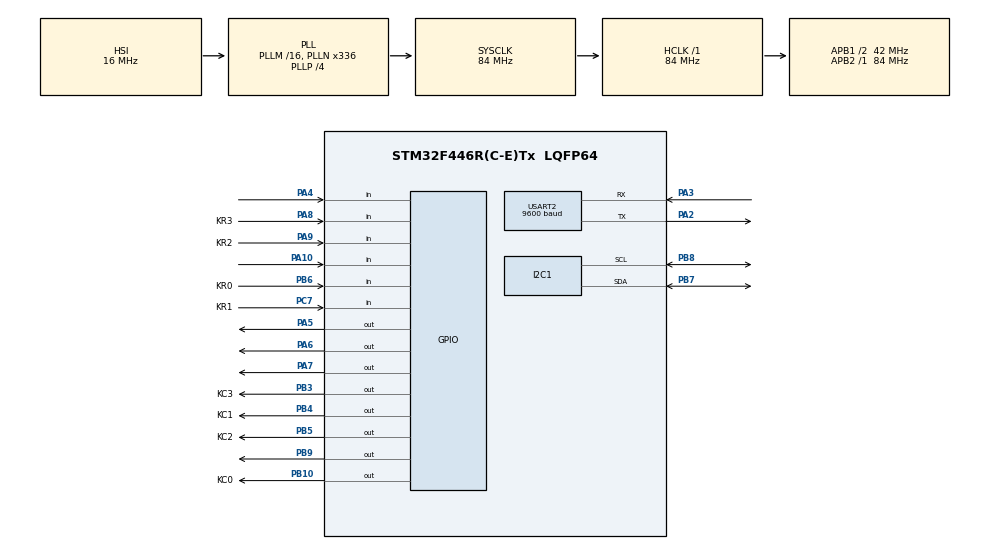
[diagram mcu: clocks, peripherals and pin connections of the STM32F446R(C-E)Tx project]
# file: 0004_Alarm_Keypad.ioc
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FREERTOS.Tasks01=keypadTask,24,128,StartKeypadTask,Default,NULL,Dynamic,NULL,NULL;oledTask,24,128,StartOledTask,Default,NULL,Dynamic,NULL,NULL;motionTask,24,128,StartMotionTask,Default,NULL,Dynamic,NULL,NULL
FREERTOS.configUSE_NEWLIB_REENTRANT=1
I2C1.I2C_Mode=I2C_Fast
Mcu.Family=STM32F4
Mcu.Name=STM32F446R(C-E)Tx
Mcu.Package=LQFP64
NVIC.PriorityGroup=NVIC_PRIORITYGROUP_4
NVIC.TIM6_DAC_IRQn=true\:0\:0\:false\:false\:true\:false\:false\:true\:true
NVIC.TimeBase=TIM6_DAC_IRQn
NVIC.TimeBaseIP=TIM6
PA10.Signal=GPIO_Input
PA13.Mode=Serial_Wire
PA13.Signal=SYS_JTMS-SWDIO
PA14.Mode=Serial_Wire
PA14.Signal=SYS_JTCK-SWCLK
PA2.Mode=Asynchronous
PA2.Signal=USART2_TX
PA3.Mode=Asynchronous
PA3.Signal=USART2_RX
PA4.Signal=GPIO_Input
PA5.Signal=GPIO_Output
PA6.Signal=GPIO_Output
PA7.Signal=GPIO_Output
PA8.GPIO_Label=KR3
PA8.GPIO_PuPd=GPIO_PULLDOWN
PA8.Signal=GPIO_Input
PA9.GPIO_Label=KR2
PA9.GPIO_PuPd=GPIO_PULLDOWN
PA9.Signal=GPIO_Input
PB10.GPIO_Label=KC0
PB10.Signal=GPIO_Output
PB3.GPIO_Label=KC3
PB3.Signal=GPIO_Output
PB4.GPIO_Label=KC1
PB4.Signal=GPIO_Output
PB5.GPIO_Label=KC2
PB5.Signal=GPIO_Output
PB6.GPIO_Label=KR0
PB6.GPIO_PuPd=GPIO_PULLDOWN
PB6.Signal=GPIO_Input
PB7.Mode=I2C
PB7.Signal=I2C1_SDA
PB8.Mode=I2C
PB8.Signal=I2C1_SCL
PB9.Signal=GPIO_Output
PC14-OSC32_IN.Mode=LSE-External-Oscillator
PC14-OSC32_IN.Signal=RCC_OSC32_IN
PC15-OSC32_OUT.Mode=LSE-External-Oscillator
PC15-OSC32_OUT.Signal=RCC_OSC32_OUT
PC7.GPIO_Label=KR1
PC7.GPIO_PuPd=GPIO_PULLDOWN
PC7.Signal=GPIO_Input
PH0-OSC_IN.Mode=HSE-External-Oscillator
PH0-OSC_IN.Signal=RCC_OSC_IN
PH1-OSC_OUT.Mode=HSE-External-Oscillator
PH1-OSC_OUT.Signal=RCC_OSC_OUT
ProjectManager.HeapSize=0x200
ProjectManager.StackSize=0x400
ProjectManager.TargetToolchain=STM32CubeIDE
RCC.48MHZClocksFreq_Value=84000000
RCC.AHBFreq_Value=84000000
RCC.APB1CLKDivider=RCC_HCLK_DIV2
RCC.APB1Freq_Value=42000000
RCC.APB1TimFreq_Value=84000000
RCC.APB2Freq_Value=84000000
RCC.APB2TimFreq_Value=84000000
RCC.CortexFreq_Value=84000000
RCC.FLatency-AdvancedSettings=FLASH_LATENCY_2
RCC.HCLKFreq_Value=84000000
RCC.HSE_VALUE=8000000
RCC.HSI_VALUE=16000000
RCC.PLLN=336
RCC.PLLP=RCC_PLLP_DIV4
RCC.SYSCLKFreq_VALUE=84000000
RCC.SYSCLKSource=RCC_SYSCLKSOURCE_PLLCLK
RCC.USBFreq_Value=168000000
RCC.VCOOutputFreq_Value=336000000
USART2.BaudRate=9600
USART2.VirtualMode=VM_ASYNC
VP_FREERTOS_VS_CMSIS_V2.Mode=CMSIS_V2
VP_SYS_VS_tim6.Mode=TIM6
board=NUCLEO-F446RE

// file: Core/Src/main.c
/* USER CODE BEGIN Header */
/**
  ******************************************************************************
  * @file           : main.c
  * @brief          : Main program body
  ******************************************************************************
  * @attention
  *
  * Copyright (c) 2024 STMicroelectronics.
  * All rights reserved.
  *
  * This software is licensed under terms that can be found in the LICENSE file
  * in the root directory of this software component.
  * If no LICENSE file comes with this software, it is provided AS-IS.
  *
  ******************************************************************************
  */
/* USER CODE END Header */
#include "main.h"
#include "cmsis_os.h"

/* USER CODE BEGIN Includes */
#include "Keypad4X4.h"
#include <stdio.h>
#include <string.h>
#include <stdlib.h>
#include "fonts.h"
#include "ssd1306.h"

/* USER CODE END Includes */

I2C_HandleTypeDef hi2c1;

UART_HandleTypeDef huart2;

/* Definitions for keypadTask */
osThreadId_t keypadTaskHandle;
const osThreadAttr_t keypadTask_attributes = {
  .name = "keypadTask",
  .stack_size = 128 * 4,
  .priority = (osPriority_t) osPriorityNormal,
};
/* Definitions for oledTask */
osThreadId_t oledTaskHandle;
const osThreadAttr_t oledTask_attributes = {
  .name = "oledTask",
  .stack_size = 128 * 4,
  .priority = (osPriority_t) osPriorityNormal,
};
/* Definitions for motionTask */
osThreadId_t motionTaskHandle;
const osThreadAttr_t motionTask_attributes = {
  .name = "motionTask",
  .stack_size = 128 * 4,
  .priority = (osPriority_t) osPriorityNormal,
};
/* USER CODE BEGIN PV */
extern char key;
char hold[4];
char code[8];
char savedCode[8];
uint8_t codeIndex = 0;
uint8_t configMode = 1;
uint8_t armed = 0;
uint32_t lastAlert = 0;
uint32_t lastTimeArmed = 0;
/* USER CODE END PV */

void SystemClock_Config(void);
static void MX_GPIO_Init(void);
static void MX_USART2_UART_Init(void);
static void MX_I2C1_Init(void);
void StartKeypadTask(void *argument);
void StartOledTask(void *argument);
void StartMotionTask(void *argument);

int main(void)
{

  /* MCU Configuration--------------------------------------------------------*/

  /* Reset of all peripherals, Initializes the Flash interface and the Systick. */
  HAL_Init();

  /* Configure the system clock */
  SystemClock_Config();

  /* Initialize all configured peripherals */
  MX_GPIO_Init();
  MX_USART2_UART_Init();
  MX_I2C1_Init();
  /* USER CODE BEGIN 2 */
    /* USER CODE BEGIN 2 */
    SSD1306_Init();
    SSD1306_GotoXY(0, 0);
    //SSD1306_Puts ("Voltage:", &Font_11x18, 1);
    SSD1306_Puts("Enter Code:", &Font_11x18, 1);
    SSD1306_GotoXY(0, 30);
    SSD1306_UpdateScreen();
    SSD1306_UpdateScreen();
    HAL_Delay(500);

  /* USER CODE END 2 */

  /* Init scheduler */
  osKernelInitialize();

  /* Create the thread(s) */
  /* creation of keypadTask */
  keypadTaskHandle = osThreadNew(StartKeypadTask, NULL, &keypadTask_attributes);

  /* creation of oledTask */
  oledTaskHandle = osThreadNew(StartOledTask, NULL, &oledTask_attributes);

  /* creation of motionTask */
  motionTaskHandle = osThreadNew(StartMotionTask, NULL, &motionTask_attributes);

  /* Start scheduler */
  osKernelStart();

  /* We should never get here as control is now taken by the scheduler */
  /* Infinite loop */
    while (1) {

    }
}

void SystemClock_Config(void)
{
  RCC_OscInitTypeDef RCC_OscInitStruct = {0};
  RCC_ClkInitTypeDef RCC_ClkInitStruct = {0};

  /** Configure the main internal regulator output voltage
  */
  __HAL_RCC_PWR_CLK_ENABLE();
  __HAL_PWR_VOLTAGESCALING_CONFIG(PWR_REGULATOR_VOLTAGE_SCALE3);

  /** Initializes the RCC Oscillators according to the specified parameters
  * in the RCC_OscInitTypeDef structure.
  */
  RCC_OscInitStruct.OscillatorType = RCC_OSCILLATORTYPE_HSI;
  RCC_OscInitStruct.HSIState = RCC_HSI_ON;
  RCC_OscInitStruct.HSICalibrationValue = RCC_HSICALIBRATION_DEFAULT;
  RCC_OscInitStruct.PLL.PLLState = RCC_PLL_ON;
  RCC_OscInitStruct.PLL.PLLSource = RCC_PLLSOURCE_HSI;
  RCC_OscInitStruct.PLL.PLLM = 16;
  RCC_OscInitStruct.PLL.PLLN = 336;
  RCC_OscInitStruct.PLL.PLLP = RCC_PLLP_DIV4;
  RCC_OscInitStruct.PLL.PLLQ = 2;
  RCC_OscInitStruct.PLL.PLLR = 2;
  if (HAL_RCC_OscConfig(&RCC_OscInitStruct) != HAL_OK)
  {
    Error_Handler();
  }

  /** Initializes the CPU, AHB and APB buses clocks
  */
  RCC_ClkInitStruct.ClockType = RCC_CLOCKTYPE_HCLK|RCC_CLOCKTYPE_SYSCLK
                              |RCC_CLOCKTYPE_PCLK1|RCC_CLOCKTYPE_PCLK2;
  RCC_ClkInitStruct.SYSCLKSource = RCC_SYSCLKSOURCE_PLLCLK;
  RCC_ClkInitStruct.AHBCLKDivider = RCC_SYSCLK_DIV1;
  RCC_ClkInitStruct.APB1CLKDivider = RCC_HCLK_DIV2;
  RCC_ClkInitStruct.APB2CLKDivider = RCC_HCLK_DIV1;

  if (HAL_RCC_ClockConfig(&RCC_ClkInitStruct, FLASH_LATENCY_2) != HAL_OK)
  {
    Error_Handler();
  }
}

static void MX_I2C1_Init(void)
{

  hi2c1.Instance = I2C1;
  hi2c1.Init.ClockSpeed = 400000;
  hi2c1.Init.DutyCycle = I2C_DUTYCYCLE_2;
  hi2c1.Init.OwnAddress1 = 0;
  hi2c1.Init.AddressingMode = I2C_ADDRESSINGMODE_7BIT;
  hi2c1.Init.DualAddressMode = I2C_DUALADDRESS_DISABLE;
  hi2c1.Init.OwnAddress2 = 0;
  hi2c1.Init.GeneralCallMode = I2C_GENERALCALL_DISABLE;
  hi2c1.Init.NoStretchMode = I2C_NOSTRETCH_DISABLE;
  if (HAL_I2C_Init(&hi2c1) != HAL_OK)
  {
    Error_Handler();
  }

}

static void MX_USART2_UART_Init(void)
{

  huart2.Instance = USART2;
  huart2.Init.BaudRate = 9600;
  huart2.Init.WordLength = UART_WORDLENGTH_8B;
  huart2.Init.StopBits = UART_STOPBITS_1;
  huart2.Init.Parity = UART_PARITY_NONE;
  huart2.Init.Mode = UART_MODE_TX_RX;
  huart2.Init.HwFlowCtl = UART_HWCONTROL_NONE;
  huart2.Init.OverSampling = UART_OVERSAMPLING_16;
  if (HAL_UART_Init(&huart2) != HAL_OK)
  {
    Error_Handler();
  }

}

static void MX_GPIO_Init(void)
{
  GPIO_InitTypeDef GPIO_InitStruct = {0};

  /* GPIO Ports Clock Enable */
  __HAL_RCC_GPIOC_CLK_ENABLE();
  __HAL_RCC_GPIOH_CLK_ENABLE();
  __HAL_RCC_GPIOA_CLK_ENABLE();
  __HAL_RCC_GPIOB_CLK_ENABLE();

  /*Configure GPIO pin Output Level */
  HAL_GPIO_WritePin(GPIOA, GPIO_PIN_5|GPIO_PIN_6|GPIO_PIN_7, GPIO_PIN_RESET);

  /*Configure GPIO pin Output Level */
  HAL_GPIO_WritePin(GPIOB, KC0_Pin|KC3_Pin|KC1_Pin|KC2_Pin
                          |GPIO_PIN_9, GPIO_PIN_RESET);

  /*Configure GPIO pins : PA4 PA10 */
  GPIO_InitStruct.Pin = GPIO_PIN_4|GPIO_PIN_10;
  GPIO_InitStruct.Mode = GPIO_MODE_INPUT;
  GPIO_InitStruct.Pull = GPIO_NOPULL;
  HAL_GPIO_Init(GPIOA, &GPIO_InitStruct);

  /*Configure GPIO pins : PA5 PA6 PA7 */
  GPIO_InitStruct.Pin = GPIO_PIN_5|GPIO_PIN_6|GPIO_PIN_7;
  GPIO_InitStruct.Mode = GPIO_MODE_OUTPUT_PP;
  GPIO_InitStruct.Pull = GPIO_NOPULL;
  GPIO_InitStruct.Speed = GPIO_SPEED_FREQ_LOW;
  HAL_GPIO_Init(GPIOA, &GPIO_InitStruct);

  /*Configure GPIO pins : KC0_Pin KC3_Pin KC1_Pin KC2_Pin
                           PB9 */
  GPIO_InitStruct.Pin = KC0_Pin|KC3_Pin|KC1_Pin|KC2_Pin
                          |GPIO_PIN_9;
  GPIO_InitStruct.Mode = GPIO_MODE_OUTPUT_PP;
  GPIO_InitStruct.Pull = GPIO_NOPULL;
  GPIO_InitStruct.Speed = GPIO_SPEED_FREQ_LOW;
  HAL_GPIO_Init(GPIOB, &GPIO_InitStruct);

  /*Configure GPIO pin : KR1_Pin */
  GPIO_InitStruct.Pin = KR1_Pin;
  GPIO_InitStruct.Mode = GPIO_MODE_INPUT;
  GPIO_InitStruct.Pull = GPIO_PULLDOWN;
  HAL_GPIO_Init(KR1_GPIO_Port, &GPIO_InitStruct);

  /*Configure GPIO pins : KR3_Pin KR2_Pin */
  GPIO_InitStruct.Pin = KR3_Pin|KR2_Pin;
  GPIO_InitStruct.Mode = GPIO_MODE_INPUT;
  GPIO_InitStruct.Pull = GPIO_PULLDOWN;
  HAL_GPIO_Init(GPIOA, &GPIO_InitStruct);

  /*Configure GPIO pin : KR0_Pin */
  GPIO_InitStruct.Pin = KR0_Pin;
  GPIO_InitStruct.Mode = GPIO_MODE_INPUT;
  GPIO_InitStruct.Pull = GPIO_PULLDOWN;
  HAL_GPIO_Init(KR0_GPIO_Port, &GPIO_InitStruct);

}

/* USER CODE BEGIN 4 */
void setNStars(char *str, int n) {
    for (int i = 0; i < n; i++) {
        str[i] = '*';
    }
}

/* USER CODE END 4 */

void StartKeypadTask(void *argument)
{
  /* USER CODE BEGIN 5 */
    /* Infinite loop */
    for (;;) {
        /* D10 to D7 as input pins for row 0 to row 3. D6 to D3 as output for column pins C1 to C3*/
        key = Get_Key();
        sprintf(hold, "%c", key);
        code[codeIndex] = key;

        // Save the code if the config mode is activated
        if (configMode == 1 && codeIndex > 4) {
            configMode = 0;
            for (int i = 0; i < strlen(code); i++) {
                savedCode[i] = code[i];
            }
            codeIndex = 0;
            HAL_GPIO_WritePin(GPIOA, GPIO_PIN_6, GPIO_PIN_SET);
            HAL_GPIO_WritePin(GPIOA, GPIO_PIN_7, GPIO_PIN_RESET);
        } else if (configMode == 0 && codeIndex > 4) {
            // Check if code is the same for each item in array
            uint8_t sameCode = 1;
            for (int i = 0; i < strlen(code); i++) {
                if (code[i] != savedCode[i]) {
                    sameCode = 0;
                }
            }
            // If the code is the same arm/disarm system
            if (sameCode == 1) {
                if (armed == 1) {
                    armed = 0;
                    HAL_GPIO_WritePin(GPIOA, GPIO_PIN_6, GPIO_PIN_SET);
                    HAL_GPIO_WritePin(GPIOA, GPIO_PIN_7, GPIO_PIN_RESET);
                } else {
                    armed = 1;
                    lastTimeArmed = xTaskGetTickCount();
                    HAL_GPIO_WritePin(GPIOA, GPIO_PIN_6, GPIO_PIN_RESET);
                    HAL_GPIO_WritePin(GPIOA, GPIO_PIN_7, GPIO_PIN_SET);
                }
            }
            codeIndex = 0;
        } else {
            codeIndex = codeIndex + 1;
        }

        HAL_UART_Transmit(&huart2, (uint8_t *) hold, strlen(hold), 100);
        HAL_Delay(500);
    }
  /* USER CODE END 5 */
}

void StartOledTask(void *argument)
{
  /* USER CODE BEGIN StartOledTask */
    /* Infinite loop */
    for (;;) {
        if (codeIndex > 0) {
        	if (codeIndex == 1) {
        		SSD1306_GotoXY(0, 30);
        		SSD1306_UpdateScreen();
        		SSD1306_Puts("           ", &Font_16x26, 1);
        	}
            char str[10] = "";
            char str2[8] = "";
            setNStars(str2, codeIndex);
            snprintf(str, sizeof(str2), str2);
            SSD1306_GotoXY(0, 30);
            SSD1306_UpdateScreen();
            SSD1306_Puts(str2, &Font_16x26, 1);
        } else if (configMode == 0) {
            char str[10] = "";
            if (armed == 1) {
                snprintf(str, sizeof(str), "ARME      ");
            } else {
                snprintf(str, sizeof(str), "NON ARME  ");
            }
            SSD1306_GotoXY(0, 30);
            SSD1306_UpdateScreen();
            SSD1306_Puts(str, &Font_11x18, 1);
        }
        SSD1306_UpdateScreen();
        osDelay(300);
    }
  /* USER CODE END StartOledTask */
}

void StartMotionTask(void *argument)
{
  /* USER CODE BEGIN StartMotionTask */
  /* Infinite loop */
  for(;;)
  {
	  uint32_t currentTime = xTaskGetTickCount();
	  if (armed && (lastTimeArmed + 60000) <= currentTime) {
		  if (lastAlert != 0 && ((lastAlert + 60000) <= currentTime)) {
			  HAL_GPIO_WritePin(GPIOB, GPIO_PIN_9, GPIO_PIN_SET);
			  HAL_UART_Transmit(&huart2, (uint8_t *) "motion\n", strlen("motion\n"), 100);
		  } else if (lastAlert == 0 && HAL_GPIO_ReadPin(GPIOA, GPIO_PIN_10)) {
			  lastAlert = xTaskGetTickCount();
		  }
	  } else {
		  lastAlert = 0;
		  HAL_GPIO_WritePin(GPIOB, GPIO_PIN_9, GPIO_PIN_RESET);
	  }
	  osDelay(100);
  }
  /* USER CODE END StartMotionTask */
}

void HAL_TIM_PeriodElapsedCallback(TIM_HandleTypeDef *htim)
{
  if (htim->Instance == TIM6) {
    HAL_IncTick();
  }
}

void Error_Handler(void)
{
    __disable_irq();
    while (1) {
    }
}
